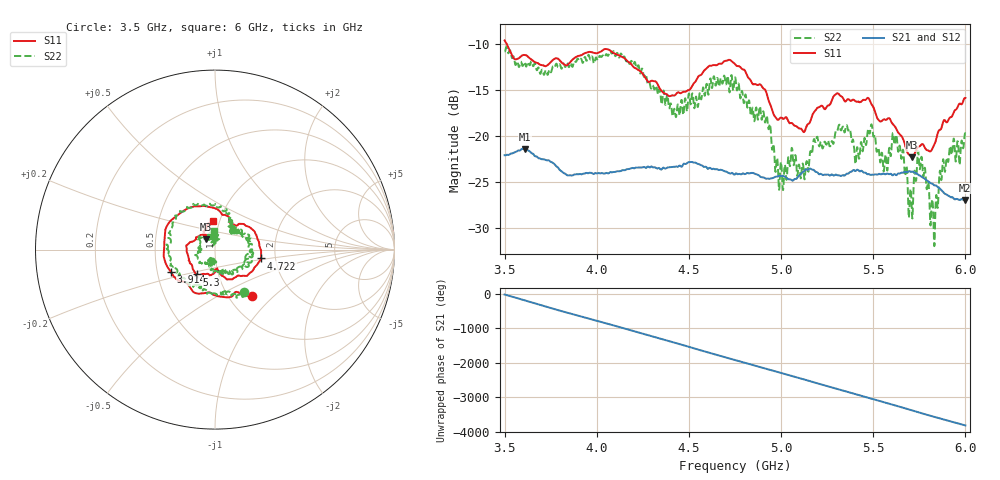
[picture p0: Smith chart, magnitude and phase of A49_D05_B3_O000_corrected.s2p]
! Created with skrf 1.9.0 (http://scikit-rf.org).
# Hz S RI R 50.0
!freq ReS11 ImS11 ReS21 ImS21 ReS12 ImS12 ReS22 ImS22
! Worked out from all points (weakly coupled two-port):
!   1601 points, 3.5 GHz to 6 GHz, reference 50 ohm
!   highest |S21| = -21.35 dB at 3.609 GHz (marker M1); lowest = -26.9 dB at 5.995 GHz (marker M2)
!   lowest |S11| = -22.2 dB at 5.711 GHz (marker M3), VSWR 1.17, Z = 44.9 + j5.27 ohm
!   |S11| at or under -10 dB: 3.513 GHz to end of sweep
!   |S22| runs from -31.9 to -10.3 dB; largest |S21 - S12| = 0.0011
!   S11 on the Smith chart (normalised r, x): 3.5 GHz: 1.27, -0.75; 3.914 GHz: 0.59, -0.16; 4.722 GHz: 1.68, -0.18; 5.3 GHz: 0.79, -0.22; 6 GHz: 0.93, +0.31
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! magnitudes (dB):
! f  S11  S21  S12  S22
! 3.5 GHz  -9.6  -22.0  -22.0  -10.8
! 3.609 GHz  -11.1  -21.3  -21.3  -11.9
! 3.914 GHz  -11.2  -24.1  -24.1  -11.5
! 3.917 GHz  -11.2  -24.1  -24.1  -11.6
! 4.139 GHz  -11.4  -23.7  -23.6  -11.3
! 4.334 GHz  -14.5  -23.4  -23.4  -15.4
! 4.42 GHz  -15.6  -23.3  -23.3  -17.0
! 4.722 GHz  -11.7  -24.0  -24.0  -15.1
! 4.75 GHz  -12.1  -24.1  -24.0  -13.6
! 4.93 GHz  -15.9  -24.6  -24.5  -18.9
! 5 GHz  -17.9  -24.3  -24.3  -22.8
! 5.167 GHz  -17.8  -23.6  -23.5  -21.9
! 5.3 GHz  -15.4  -24.2  -24.1  -19.4
! 5.484 GHz  -16.2  -24.2  -24.1  -19.3
! 5.584 GHz  -18.0  -24.1  -24.0  -21.6
! 5.617 GHz  -18.9  -24.1  -24.1  -20.8
! 5.711 GHz  -22.2  -23.8  -23.7  -28.7
! 5.753 GHz  -21.0  -24.2  -24.2  -23.6
! 5.823 GHz  -21.2  -25.2  -25.1  -27.3
! 5.872 GHz  -19.0  -25.9  -25.8  -24.4
! 5.995 GHz  -15.8  -26.9  -26.8  -19.9
! 6 GHz  -15.8  -26.9  -26.8  -19.7
